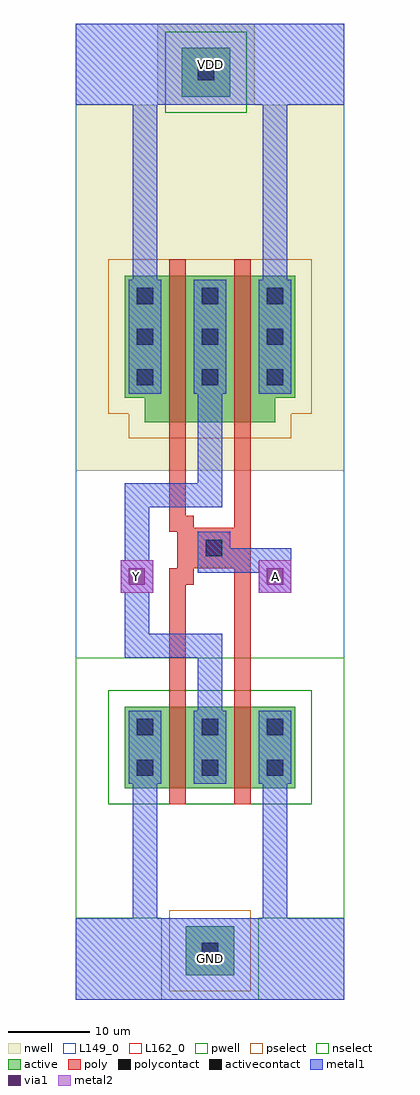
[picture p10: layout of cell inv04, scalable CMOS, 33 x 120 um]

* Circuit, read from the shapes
.subckt inv04 A GND VDD Y
M1 Y A GND GND nfet w=10u l=2u m=2
M2 Y A VDD VDD pfet w=18u l=2u m=2
.ends

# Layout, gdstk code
import gdstk
lib = gdstk.Library(unit=1e-6, precision=1e-09)
def R(c, l, rs):  # rectangles x0, y0, x1, y1
    for r in rs: c.add(gdstk.rectangle(r[:2], r[2:], *l))
def A(c, l, x, y, w, h, nx, ny, dx, dy):  # array of equal rectangles
    R(c, l, [(x+i*dx, y+j*dy, x+i*dx+w, y+j*dy+h) for i in range(nx) for j in range(ny)])
def P(c, l, *ps):  # polygons
    for p in ps: c.add(gdstk.Polygon(p, *l))
pwell = (41, 0)
nwell = (42, 0)
active = (43, 0)
pselect = (44, 0)
nselect = (45, 0)
poly = (46, 0)
polycontact = (47, 0)
activecontact = (48, 0)
metal1 = (49, 0)
via1 = (50, 0)
metal2 = (51, 0)
L149_0 = (149, 0)
L162_0 = (162, 0)

pwell_contact = lib.new_cell('pwell_contact')
R(pwell_contact, pwell, [(-6,-6,6,5)])
R(pwell_contact, active, [(-3,-3,3,3)])
R(pwell_contact, pselect, [(-5,-5,5,5)])
R(pwell_contact, activecontact, [(-1,-1,1,1)])

nwell_contact = lib.new_cell('nwell_contact')
R(nwell_contact, nwell, [(-6,-5,6,6)])
R(nwell_contact, active, [(-3,-3,3,3)])
R(nwell_contact, nselect, [(-5,-5,5,5)])
R(nwell_contact, activecontact, [(-1,-1,1,1)])

via = lib.new_cell('via')
R(via, metal1, [(-2,-2,2,2)])
R(via, via1, [(-1,-1,1,1)])
R(via, metal2, [(-2,-2,2,2)])

inv04 = lib.new_cell('inv04')
R(inv04, pwell, [(0,10,33,20), (0,10,33,42), (0,20,33,42)])
R(inv04, nwell, [(0,65,33,110), (0,95,33,110)])
P(inv04, nwell, [(0,68),(2.5,68),(2.5,65),(30.5,65),(30.5,68),(33,68),(33,95),(0,95)])
R(inv04, active, [(6,26,27,36)])
P(inv04, active, [(6,74),(8.5,74),(8.5,71),(24.5,71),(24.5,74),(27,74),(27,89),(6,89)])
P(inv04, pselect, [(4,72),(6.5,72),(6.5,69),(26.5,69),(26.5,72),(29,72),(29,91),(4,91)])
R(inv04, nselect, [(4,24,29,38)])
R(inv04, poly, [(11.5,24,13.5,26), (19.5,24,21.5,26), (11.5,26,13.5,36), (19.5,26,21.5,36), (11.5,36,13.5,38), (19.5,36,21.5,38), (14.5,53,19.5,58), (11.5,69,13.5,71), (19.5,69,21.5,71), (11.5,71,13.5,89), (19.5,71,21.5,89), (11.5,89,13.5,91), (19.5,89,21.5,91)])
R(inv04, polycontact, [(16,54.5,18,56.5)])
A(inv04, activecontact, 7.5, 27.5, 2, 2, 3, 2, 8, 5)
A(inv04, activecontact, 7.5, 75.5, 2, 2, 3, 3, 8, 5)
A(inv04, metal1, 6.5, 26.5, 4, 9, 3, 1, 8, 0)
A(inv04, metal1, 6.5, 74.5, 4, 14, 3, 1, 8, 0)
R(inv04, metal1, [(0,0,33,10), (0,0,33,10), (15,53.5,19,57.5), (0,110,33,120), (0,110,33,120)])
R(inv04, metal2, [(5.5,50,9.5,54), (22.5,50,26.5,54)])
R(inv04, L149_0, [(0,0,33,10), (0,0,33,10), (0,0,33,120), (15,53.5,19,57.5), (0,110,33,120), (0,110,33,120)])
R(inv04, L162_0, [(5.5,50,9.5,54), (22.5,50,26.5,54)])
inv04.add(gdstk.FlexPath([(24.5,29),(24.5,0)], 3, ends="flush", simple_path=True, layer=149, datatype=0))  # L149_0
inv04.add(gdstk.FlexPath([(8.5,28.5),(8.5,0)], 3, ends="flush", simple_path=True, layer=149, datatype=0))  # L149_0
inv04.add(gdstk.FlexPath([(24.5,83),(24.5,113)], 3, ends="flush", simple_path=True, layer=149, datatype=0))  # L149_0
inv04.add(gdstk.FlexPath([(16.5,77),(16.5,62),(7.5,62),(7.5,43.5),(16.5,43.5),(16.5,31.5)], 3, ends="flush", simple_path=True, layer=149, datatype=0))  # L149_0
inv04.add(gdstk.FlexPath([(8.5,83),(8.5,113.5)], 3, ends="flush", simple_path=True, layer=149, datatype=0))  # L149_0
inv04.add(gdstk.FlexPath([(15,54),(26.5,54)], 3, ends="flush", simple_path=True, layer=149, datatype=0))  # L149_0
inv04.add(gdstk.FlexPath([(24.5,29),(24.5,0)], 3, ends="flush", simple_path=True, layer=49, datatype=0))  # metal1
inv04.add(gdstk.FlexPath([(8.5,28.5),(8.5,0)], 3, ends="flush", simple_path=True, layer=49, datatype=0))  # metal1
inv04.add(gdstk.FlexPath([(24.5,83),(24.5,113)], 3, ends="flush", simple_path=True, layer=49, datatype=0))  # metal1
inv04.add(gdstk.FlexPath([(16.5,77),(16.5,62),(7.5,62),(7.5,43.5),(16.5,43.5),(16.5,31.5)], 3, ends="flush", simple_path=True, layer=49, datatype=0))  # metal1
inv04.add(gdstk.FlexPath([(8.5,83),(8.5,113.5)], 3, ends="flush", simple_path=True, layer=49, datatype=0))  # metal1
inv04.add(gdstk.FlexPath([(15,54),(26.5,54)], 3, ends="flush", simple_path=True, layer=49, datatype=0))  # metal1
inv04.add(gdstk.FlexPath([(12.5,71),(12.5,58.5),(13.5,58.5),(13.5,52),(12.5,52),(12.5,35)], 2, ends="flush", simple_path=True, layer=46, datatype=0))  # poly
inv04.add(gdstk.FlexPath([(20.5,71),(20.5,37)], 2, ends="flush", simple_path=True, layer=46, datatype=0))  # poly
inv04.add(gdstk.Reference(pwell_contact, (16.5,6)))
inv04.add(gdstk.Reference(nwell_contact, (16,114)))
inv04.add(gdstk.Reference(via, (7.5,52)))
inv04.add(gdstk.Reference(via, (24.5,52)))
inv04.add(gdstk.Label('Y', (7.5,52), layer=3, texttype=0))
inv04.add(gdstk.Label('A', (24.5,52), layer=3, texttype=0))
inv04.add(gdstk.Label('GND', (16.5,5), layer=2, texttype=0))
inv04.add(gdstk.Label('VDD', (16.5,115), layer=2, texttype=0))

lib.write_gds('inv04.gds')
